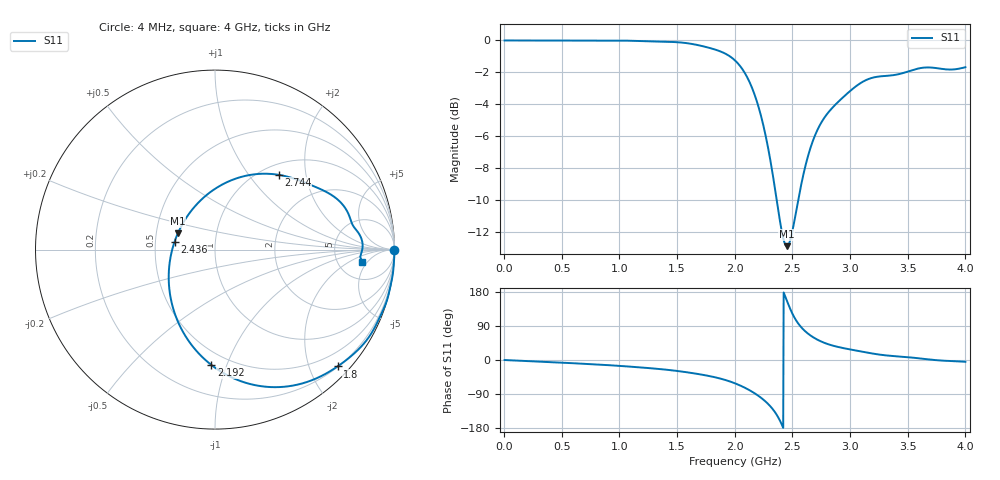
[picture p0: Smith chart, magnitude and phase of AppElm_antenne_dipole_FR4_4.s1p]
! TOUCHSTONE file generated by CST MICROWAVE STUDIO
! Date and time: Thu May 12 17:57:32 2022
! Project name: AppElm_antenne_dipole_FR4.cst
! Parameters = {L=38.8; e=0.035; f=2.45e+09; h=1.6; i=0.8; l1=4; lambda=122.449; ls=30; wl=1.7; ws=72}
! Header version: 2018
! Port assignment regex: !\s*Touchstone port\s*([0-9]+)\s*=\s*(CST MWS port|CST DS port)\s*([0-9]+|Zmin|Zmax)\s*\(\"(.*)\"\)(\s*mode\s*([0-9]+))?.*
! Touchstone port assignment:
! Touchstone port 1 = CST MWS port 1 ("")
# GHz S MA R 50
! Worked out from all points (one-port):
!   1000 points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, 4 MHz to 4 GHz, reference 50 ohm
!   lowest |S11| = -12.9 dB at 2.452 GHz (marker M1), VSWR 1.58, Z = 32.4 + j6.14 ohm
!   |S11| at or under -10 dB: 2.363 GHz to 2.551 GHz (187.4 MHz wide, 7.63 % of centre)
!   S11 on the Smith chart (normalised r, x): 4 MHz: open; 1.8 GHz: 0.21, -2.48; 2.192 GHz: 0.40, -0.88; 2.436 GHz: 0.63, +0.06; 2.744 GHz: 1.19, +1.41; 4 GHz: 8.79, -3.71
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0.004  0.9999 -0.1
0.504  1 -7.1
1.004  0.9989 -15.6
1.504  0.9872 -29.0
1.656  0.971 -35.7
1.8  0.9433 -43.7
1.908  0.9129 -51.8
2.004  0.8642 -61.8
2.104  0.771 -75.8
2.192  0.6429 -91.8
2.26  0.5176 -107.7
2.32  0.3979 -126.2
2.376  0.2949 -151.0
2.436  0.2295 169.0
2.452  0.2261 156.6
2.504  0.2566 119.7
2.56  0.3294 92.4
2.616  0.4084 74.4
2.676  0.4825 60.8
2.744  0.5473 49.6
2.848  0.6156 38.1
3.004  0.6958 27.7
3.196  0.7641 17.0
3.324  0.7747 11.8
3.504  0.7994 7.3
3.64  0.8217 3.0
3.764  0.8174 -0.9
4  0.8241 -4.7
